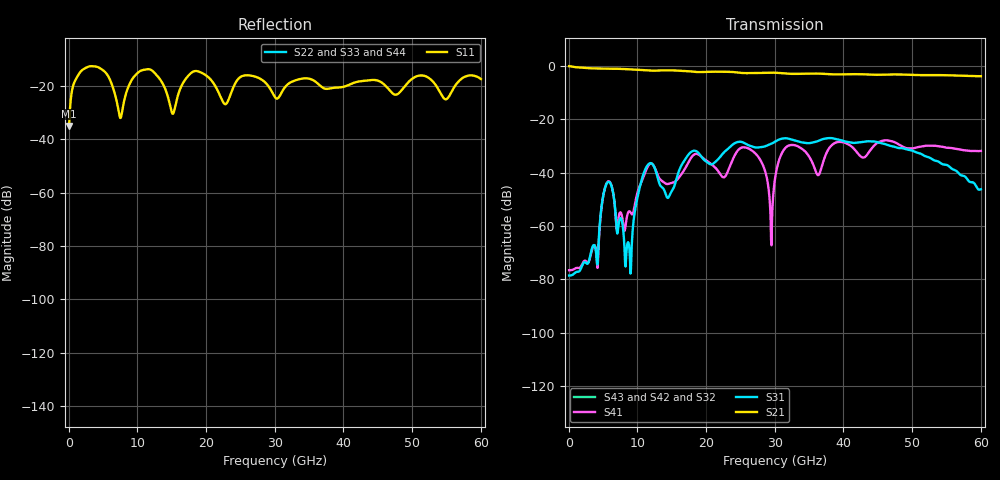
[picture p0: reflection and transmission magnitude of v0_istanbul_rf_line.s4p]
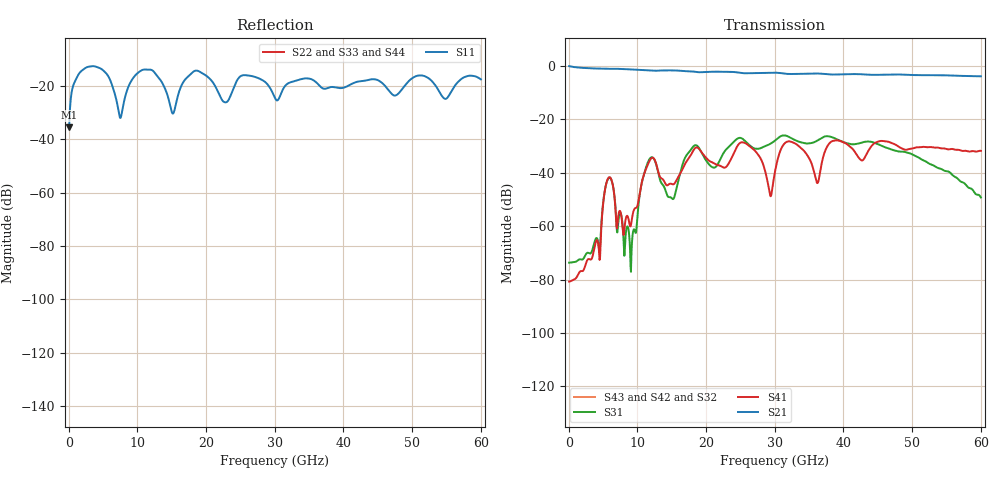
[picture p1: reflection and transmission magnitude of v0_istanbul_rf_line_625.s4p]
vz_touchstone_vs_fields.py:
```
"""Line A gap voltage V(z): uniform-line model from the touchstone vs CST gap fields, Istanbul 8.75 mm runs with both.
Model: alpha, n_m, Zc fitted from the line A two-port (ports 1 near, 2 far of the s4p; line B ports in 50 ohm) by
extract_line_fit (the GUI extraction); V(z) = V+ (exp(-g z) + G_L exp(-2 g L) exp(g z)), G_L = (50 - Zc)/(50 + Zc),
source and load = the 50 ohm CST ports. The field V(z) is the push-pull gap field (xtalk_fields), median-filtered over
9 points (45 um) to remove the single-point dips every 0.2 mm. One complex scale factor (field units) is fitted per
frequency; the error is ||V_field - k V_model|| / ||V_field||.
EO: |H_A| normalised to its mean over 3-10.7 GHz, formula (same fits, n_g 2.27, 50/50 ohm) vs fields.
Outputs: vz_touchstone_vs_fields.png, printed table."""
import os, sys, tempfile
HERE = os.path.dirname(os.path.abspath(__file__)); X = os.path.join(HERE, "..")
sys.path.insert(0, os.path.join(X, "istanbul_run_a")); sys.path.insert(0, os.path.abspath(os.path.join(HERE, "../../../..")))
import numpy as np, skrf as rf, matplotlib
matplotlib.use("Agg"); import matplotlib.pyplot as plt
from scipy.signal import medfilt
from mzm_interconnect import parameters as P, xtalk_fields as XF
from mzm_interconnect.extractor import extract_line_fit
from mzm_interconnect.physics import eo_transfer, C0
from load_fields import load
p = P.defaults(); p["Rt_R"] = 50.0; p["Zs_R"] = 50.0
LA, BAD = "e-field (f=1) [1]_lineA.zip", (2.0, 15.0)
RUNS = {"(a) bare line": (load(skip_f=BAD), os.path.join(X, "istanbul_run_a", "v0_istanbul_rf_line.s4p")),
        "(a) wide substrate": (load(base=os.path.join(X, "istanbul_run_a_wide"), a_zip=LA, skip_f=BAD), os.path.join(X, "istanbul_run_a_wide", "v0_istanbul_rf_line_625.s4p")),
        "(c) launch pads": (load(base=os.path.join(X, "istanbul_run_c"), a_zip=LA, drop="first", skip_f=BAD + (1.0,)), os.path.join(X, "istanbul_run_c", "v0_istanbul_rf_lineLaunch.s4p"))}
L, tmp, QF = 8.75e-3, tempfile.mkdtemp(), (10.0, 30.0, 58.0)
fig, ax = plt.subplots(len(RUNS), 4, figsize=(17, 3.3 * len(RUNS)))
print("run | V(z) error 10/30/58 GHz (%), median 3-60 | EO formula - fields: rms, max (dB), ripple corr | Zc fit 30 GHz | far-end |G| model vs fields 30/58")
for r, (name, (fd, s4p)) in enumerate(RUNS.items()):
    o = XF.eo_crosstalk_fields(p, fd); f = o["f_GHz"]; z = o["z"] - o["z"][0]
    tp = os.path.join(tmp, f"r{r}"); rf.Network(s4p).subnetwork([0, 1]).write_touchstone(tp); fit = extract_line_fit(tp + ".s2p", L * 1e3)
    al, nm, zc = fit.alpha_dB_cm(f) * 100 / 8.686, fit.nm(f), fit.Zc(f)
    errs, Gm, Gf, pan = [], [], [], {}
    for i, q in enumerate(f):
        Vp, Vm = o["V"][q]["A"]; V = 0.5 * (Vp + Vm); V = medfilt(V.real, 9) + 1j * medfilt(V.imag, 9)
        g = al[i] + 1j * 2 * np.pi * q * 1e9 * nm[i] / C0; GL = (50 - zc[i]) / (50 + zc[i])
        Vmod = np.exp(-g * z) + GL * np.exp(-2 * g * z[-1]) * np.exp(g * z)
        k = np.vdot(Vmod, V) / np.vdot(Vmod, Vmod); errs.append(np.linalg.norm(V - k * Vmod) / np.linalg.norm(V))
        M = np.c_[np.exp(-g * z), np.exp(g * z)]; c, *_ = np.linalg.lstsq(M, V, rcond=None)   # field standing wave, model gamma
        Gf.append(abs(c[1] * np.exp(g * z[-1]) / (c[0] * np.exp(-g * z[-1])))); Gm.append(abs(GL))
        if q in QF: pan[q] = (abs(V) / np.mean(abs(V)), abs(k * Vmod) / np.mean(abs(V)))
    errs = 100 * np.array(errs)
    H, _ = eo_transfer(f, fit.alpha_dB_cm(f), nm, zc, L, 2.27, 50.0, 50.0); ref = (f >= 3) & (f <= 10.7)
    nd = lambda h: 20 * np.log10(abs(h) / np.mean(abs(h)[ref])); yF, yM = nd(o["I_A"]), nd(H); d = yF - yM
    at = lambda y, q: y[np.argmin(abs(f - q))]
    print(f"{name:18s} | {at(errs, 10):.1f} {at(errs, 30):.1f} {at(errs, 58):.1f}, {np.median(errs[f >= 3]):.1f} | {np.sqrt(np.mean(d**2)):.2f}, {abs(d).max():.2f}, "
          f"{np.corrcoef(np.diff(yF), np.diff(yM))[0, 1]:+.2f} | {fit.Zc(np.array([30.0]))[0].real:.1f} | {at(np.array(Gm), 30):.3f} vs {at(np.array(Gf), 30):.3f}, {at(np.array(Gm), 58):.3f} vs {at(np.array(Gf), 58):.3f}")
    for c_, q in enumerate(QF):
        a = ax[r, c_]; vf, vm = pan[q]
        a.plot(z * 1e3, vf, color="#eb6834", lw=1.0, label="CST gap fields"); a.plot(z * 1e3, vm, "k--", lw=1.5, label="uniform line from touchstone")
        a.set_title(f"{name}: |V(z)| at {q:g} GHz (error {at(errs, q):.1f} %)", fontsize=9); a.set_ylim(0.7, 1.35); a.grid(alpha=0.3)
        if r == len(RUNS) - 1: a.set_xlabel("z (mm)")
    a = ax[r, 3]; a.plot(f, yF, "o-", color="#eb6834", ms=2.5, lw=1.2, label="fields"); a.plot(f, yM, "k--", lw=1.5, label="touchstone formula")
    a.set_title(f"{name}: EO response (dB)", fontsize=9); a.set_ylim(-3, 1); a.set_xlim(0, 60); a.grid(alpha=0.3)
    if r == len(RUNS) - 1: a.set_xlabel("frequency (GHz)")
ax[0, 0].legend(frameon=False, fontsize=8); ax[0, 3].legend(frameon=False, fontsize=8)
fig.tight_layout(); fig.savefig(os.path.join(HERE, "vz_touchstone_vs_fields.png"), dpi=150)
```
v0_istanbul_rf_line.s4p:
! TOUCHSTONE file generated by CST MICROWAVE STUDIO
! Date and time: Thu Nov  5 15:45:10 2026
! Project name: v0_istanbul_rf_line.cst
! Parameters = {LN_THICKNESS=0.000275; SILICON_THICKNESS=0.55}
! Header version: 2024
! Port assignment regex: !\s*Touchstone port\s*([0-9]+)\s*=\s*(CST MWS port|CST DES external port|CST DES block port)\s*(.+)\s* \(\"(.*)\"\)(\s*mode\s*([0-9]+))?.*
! Touchstone port assignment:
! Touchstone port 1 = CST MWS port 1 ("")
! Touchstone port 2 = CST MWS port 2 ("")
! Touchstone port 3 = CST MWS port 3 ("")
! Touchstone port 4 = CST MWS port 4 ("")
# GHz S MA R 50
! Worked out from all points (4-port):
!   1000 points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, 60 MHz to 60 GHz, reference 50 ohm
!   strongest paths, dB at 60 MHz, 15.06 GHz, 30.06 GHz, 45.06 GHz, 60 GHz:
!     S21: -0.1, -1.7, -2.6, -3.4, -3.9
!     S31: -78.5, -46.7, -28.4, -28.7, -46.2
!     S41: -76.5, -43.8, -41.8, -28.6, -31.9
!     S43: -, -, -, -, -
!     S42: -, -, -, -, -
!     S32: -, -, -, -, -
!   lowest |S11| = -35.0 dB at 60 MHz (marker M1), VSWR 1.04, Z = 51.4 + j1.06 ohm
!   |S11| at or under -10 dB: start of sweep to end of sweep
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0.06  0.01769 35.6  0 0.0  0 0.0  0 0.0
      0.9858 -1.8  0 0.0  0 0.0  0 0.0
      0.0001184 158.7  0 0.0  0 0.0  0 0.0
      0.0001491 -20.8  0 0.0  0 0.0  0 0.0
18.18  0.1852 0.8  0 0.0  0 0.0  0 0.0
       0.7761 -71.4  0 0.0  0 0.0  0 0.0
       0.02569 -168.8  0 0.0  0 0.0  0 0.0
       0.02146 2.2  0 0.0  0 0.0  0 0.0
60  0.1334 -44.2  0 0.0  0 0.0  0 0.0
    0.6401 35.9  0 0.0  0 0.0  0 0.0
    0.004881 131.0  0 0.0  0 0.0  0 0.0
    0.02552 -43.7  0 0.0  0 0.0  0 0.0
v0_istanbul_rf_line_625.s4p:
! TOUCHSTONE file generated by CST MICROWAVE STUDIO
! Date and time: Fri Nov  6 10:02:26 2026
! Project name: v0_istanbul_rf_line_625.cst
! Parameters = {LN_THICKNESS=0.000275; SILICON_THICKNESS=0.55}
! Header version: 2024
! Port assignment regex: !\s*Touchstone port\s*([0-9]+)\s*=\s*(CST MWS port|CST DES external port|CST DES block port)\s*(.+)\s* \(\"(.*)\"\)(\s*mode\s*([0-9]+))?.*
! Touchstone port assignment:
! Touchstone port 1 = CST MWS port 1 ("")
! Touchstone port 2 = CST MWS port 2 ("")
! Touchstone port 3 = CST MWS port 3 ("")
! Touchstone port 4 = CST MWS port 4 ("")
# GHz S MA R 50
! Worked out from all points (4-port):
!   1000 points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, 60 MHz to 60 GHz, reference 50 ohm
!   strongest paths, dB at 60 MHz, 15.06 GHz, 30.06 GHz, 45.06 GHz, 60 GHz:
!     S21: -0.1, -1.7, -2.5, -3.3, -3.9
!     S41: -80.8, -44.3, -39.2, -28.3, -31.8
!     S31: -73.7, -49.7, -27.9, -29.4, -49.3
!     S43: -, -, -, -, -
!     S42: -, -, -, -, -
!     S32: -, -, -, -, -
!   lowest |S11| = -35.5 dB at 60 MHz (marker M1), VSWR 1.03, Z = 51.3 + j1.13 ohm
!   |S11| at or under -10 dB: start of sweep to end of sweep
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0.06  0.01672 41.0  0 0.0  0 0.0  0 0.0
      0.9876 -1.8  0 0.0  0 0.0  0 0.0
      0.0002068 -21.9  0 0.0  0 0.0  0 0.0
      9.128e-05 159.1  0 0.0  0 0.0  0 0.0
24.84  0.1448 12.3  0 0.0  0 0.0  0 0.0
       0.7437 133.4  0 0.0  0 0.0  0 0.0
       0.04485 -160.2  0 0.0  0 0.0  0 0.0
       0.03518 -172.7  0 0.0  0 0.0  0 0.0
60  0.1321 -43.6  0 0.0  0 0.0  0 0.0
    0.6386 36.0  0 0.0  0 0.0  0 0.0
    0.003436 135.1  0 0.0  0 0.0  0 0.0
    0.02563 -40.1  0 0.0  0 0.0  0 0.0
